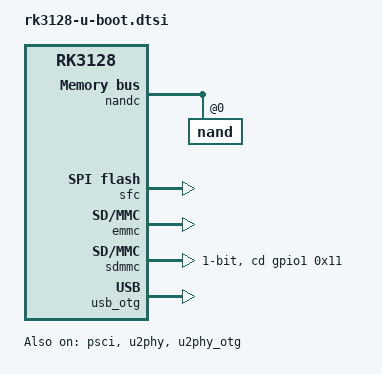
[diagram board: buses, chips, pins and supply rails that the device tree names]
/*
 * (C) Copyright 2018 Rockchip Electronics Co., Ltd
 *
 * SPDX-License-Identifier:     GPL-2.0+
 */

/ {
	aliases {
		mmc0 = &emmc;
		mmc1 = &sdmmc;
	};

	chosen {
		stdout-path = &uart1;
	};
};

&psci {
	u-boot,dm-pre-reloc;
	status = "okay";
};

&dmc {
	u-boot,dm-pre-reloc;
};

&nandc {
	u-boot,dm-pre-reloc;
	status = "okay";
	#address-cells = <1>;
	#size-cells = <0>;

	nand@0 {
		u-boot,dm-spl;
		reg = <0>;
		nand-ecc-mode = "hw";
		nand-ecc-strength = <16>;
		nand-ecc-step-size = <1024>;
	};
};

&sfc {
	u-boot,dm-pre-reloc;
	status = "okay";
};

&emmc {
	u-boot,dm-pre-reloc;
	default-sample-phase = <0>;
	status = "okay";
};

&sdmmc {
    status = "okay";
    broken-cd;
    supports-sd;
    supports-highspeed;
    cap-sd-highspeed;
    card-detect-delay = <200>;
    max-frequency = <37500000>;
    bus-width = <4>;
	ignore-pm-notify;
	keep-power-in-suspend;
	cd-gpios = <&gpio1 0x11 0x00>;
	cap-mmc-highspeed;
	cap-sd-highspeed;

	max-frequency = <37500000>;
	num-slots = <1>;
dmas = <&pdma 10>;
		dma-names = "rx-tx";
		num-slots = <1>;
	bus-width = <1>;
};

&grf {
	u-boot,dm-pre-reloc;
};

&cru {
	u-boot,dm-pre-reloc;
};

&uart1 {
	clock-frequency = <24000000>;
	u-boot,dm-pre-reloc;
};

&uart2 {
    status = "disabled";
};

&u2phy {
	u-boot,dm-pre-reloc;
	status = "okay";
};

&u2phy_otg {
	u-boot,dm-pre-reloc;
	status = "okay";
};

&usb_otg {
	u-boot,dm-pre-reloc;
	status = "okay";
};
